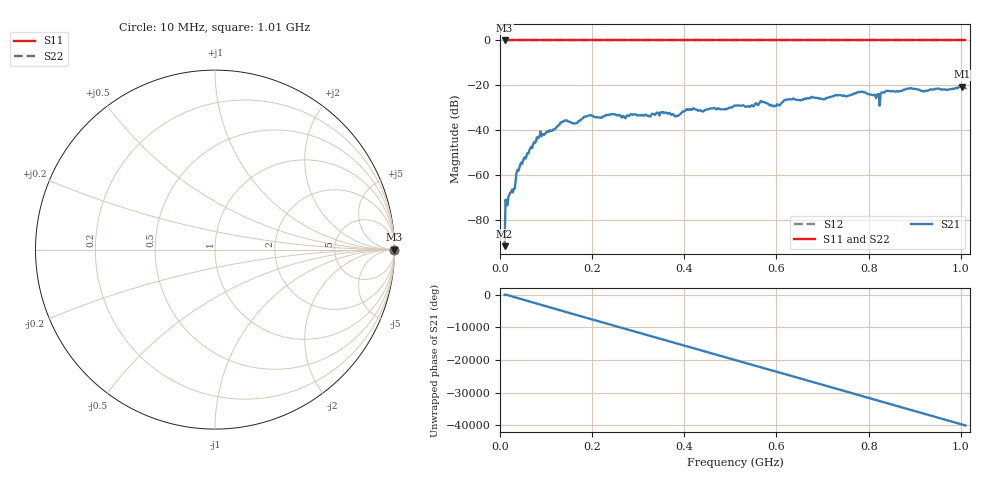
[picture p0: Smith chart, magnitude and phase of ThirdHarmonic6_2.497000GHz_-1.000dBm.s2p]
! 8/17/2025 4:45:58 AM
! C:\ANRITSUVNA\TEMP\TEMP.S2P
! CHANNEL.1
! TR.MEASUREMENT
! RAW.DATA
! RF.CORRECTION.OFF
! AVERAGING.OFF
! IF.BANDWIDTH: 5KHZ
! SWEEPTYPE:  FREQ.SWEEP(Linear)
! Reference Plane Port Info
! PORT:  PORT1  PORT2
! DISTANCE:  0  m  0  m
! TIME:  0  s  0  s
! PHASE.OFFSET:  0  deg.  0  deg.
! LOSS:  0  dB  0  dB
! REF.LOSS:  0  dB  0  dB
! REF.FREQ:  0  Hz  0  Hz
! Power Info
! POWER:  -20  dBm  -20  dBm
! EFF.POWER:  -20  dBm  -20  dBm
! SOURCE.ATTEN:  0  dB  0  dB
! TEST.ATTEN:  0  dB  0  dB
# GHZ S RI R 50.0
! FREQ.GHZ  S11RE  S11IM  S21RE  S21IM  S12RE  S12IM  S22RE  S22IM
!; PortSelection: Port_12
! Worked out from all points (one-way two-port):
!   501 points, 10 MHz to 1.01 GHz, reference 50 ohm
!   highest |S21| = -20.60 dB at 1.002 GHz (marker M1); lowest = -91.8 dB at 10 MHz (marker M2)
!   lowest |S11| = 0.0 dB at 10 MHz (marker M3)
!   |S11| at or under -10 dB: nowhere
!   |S22| runs from 0.0 to 0.0 dB; largest |S21 - S12| = 1.1
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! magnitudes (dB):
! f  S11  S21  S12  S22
! 10 MHz  0.0  -91.8  0.0  0.0
! 16 MHz  0.0  -73.6  0.0  0.0
! 30 MHz  0.0  -66.2  0.0  0.0
! 40 MHz  0.0  -58.2  0.0  0.0
! 84 MHz  0.0  -43.5  0.0  0.0
! 138 MHz  0.0  -36.0  0.0  0.0
! 164 MHz  0.0  -37.0  0.0  0.0
! 178 MHz  0.0  -35.0  0.0  0.0
! 344 MHz  0.0  -32.4  0.0  0.0
! 384 MHz  0.0  -33.5  0.0  0.0
! 408 MHz  0.0  -30.9  0.0  0.0
! 510 MHz  0.0  -29.1  0.0  0.0
! 568 MHz  0.0  -27.2  0.0  0.0
! 596 MHz  0.0  -29.1  0.0  0.0
! 622 MHz  0.0  -26.4  0.0  0.0
! 678 MHz  0.0  -25.4  0.0  0.0
! 702 MHz  0.0  -26.2  0.0  0.0
! 784 MHz  0.0  -23.0  0.0  0.0
! 820 MHz  0.0  -24.0  0.0  0.0
! 844 MHz  0.0  -22.6  0.0  0.0
! 1.002 GHz  0.0  -20.6  0.0  0.0
! 1.01 GHz  0.0  -21.3  0.0  0.0
